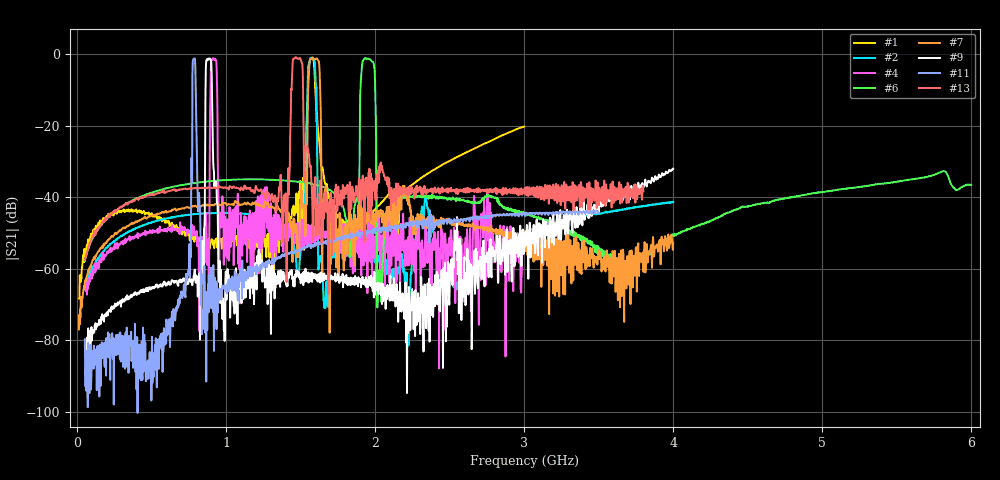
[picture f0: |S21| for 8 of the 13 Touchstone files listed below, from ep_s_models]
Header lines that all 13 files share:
! Matrix data file written by TouchstoneData, EPCOS AG
! INFO: nport=2, nfreq=1601
! port | pin | signal
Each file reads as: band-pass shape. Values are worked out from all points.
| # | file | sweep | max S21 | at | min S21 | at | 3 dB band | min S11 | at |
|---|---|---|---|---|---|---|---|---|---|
| 1 | B4060_WB.s2p | 10 MHz to 3 GHz | -1.24 dB | 1.574 GHz | -68.3 dB | 10 MHz | 1.554 GHz-1.589 GHz | -33.7 dB | 1.569 GHz |
| 2 | B4300_WB.s2p | 50 MHz to 4 GHz | -0.95 dB | 1.578 GHz | -81.5 dB | 2.223 GHz | 1.549 GHz-1.595 GHz | -38.5 dB | 1.576 GHz |
| 3 | B4301_NB.s2p | 716.5 MHz to 1.117 GHz | -1.07 dB | 911.5 MHz | -75.0 dB | 816.5 MHz | 896 MHz-934.8 MHz | -37.5 dB | 910 MHz |
| 4 | B4301_WB.s2p | 51.5 MHz to 3.002 GHz | -1.11 dB | 912.5 MHz | -87.9 dB | 2.428 GHz | 895.9 MHz-934.7 MHz | -23.2 dB | 923.6 MHz |
| 5 | B4307_WB.s2p | 100 MHz to 5 GHz | -1.04 dB | 1.729 GHz | -91.7 dB | 3.212 GHz | 1.699 GHz-1.763 GHz | -23.9 dB | 1.763 GHz |
| 6 | B4309_WB.s2p | 50 MHz to 6 GHz | -1.06 dB | 1.932 GHz | -70.8 dB | 2.014 GHz | 1.909 GHz-1.991 GHz | -24.4 dB | 1.932 GHz |
| 7 | B4310_WB.s2p | 10 MHz to 4 GHz | -0.89 dB | 1.579 GHz | -77.9 dB | 1.693 GHz | 1.556 GHz-1.623 GHz | -35.1 dB | 1.561 GHz |
| 8 | B4311_WB.s2p | 50 MHz to 4 GHz | -0.91 dB | 832.6 MHz | -88.0 dB | 2.163 GHz | 820.2 MHz-852.3 MHz | -39.4 dB | 832.6 MHz |
| 9 | B4314_WB.s2p | 50 MHz to 4 GHz | -1.18 dB | 882 MHz | -94.8 dB | 2.213 GHz | 862.2 MHz-899.2 MHz | -20.3 dB | 891.8 MHz |
| 10 | B4315_WB.s2p | 50 MHz to 6 GHz | -1.21 dB | 1.872 GHz | -104.4 dB | 50 MHz | 1.842 GHz-1.913 GHz | -32.7 dB | 1.891 GHz |
| 11 | B4319_WB.s2p | 50 MHz to 3.5 GHz | -1.17 dB | 785.3 MHz | -100.3 dB | 403.6 MHz | 774.5 MHz-791.8 MHz | -26.2 dB | 789.6 MHz |
| 12 | B4320_WB.s2p | 50 MHz to 6 GHz | -0.76 dB | 845.8 MHz | -97.8 dB | 4.137 GHz | 830.9 MHz-864.4 MHz | -19.7 dB | 845.8 MHz |
| 13 | B4325_WB.s2p | 50 MHz to 3.8 GHz | -0.83 dB | 1.466 GHz | -67.0 dB | 1.686 GHz | 1.445 GHz-1.51 GHz | -24.0 dB | 1.494 GHz |
